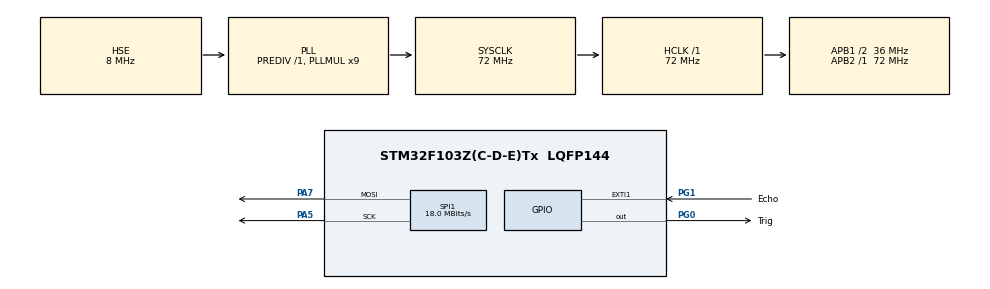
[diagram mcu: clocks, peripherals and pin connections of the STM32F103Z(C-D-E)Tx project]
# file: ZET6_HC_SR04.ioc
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FREERTOS.Tasks01=APP_Main,24,128,APPTask_Main,Default,NULL,Dynamic,NULL,NULL
Mcu.Family=STM32F1
Mcu.Name=STM32F103Z(C-D-E)Tx
Mcu.Package=LQFP144
NVIC.EXTI1_IRQn=true\:4\:0\:true\:false\:true\:false\:true\:true\:true
NVIC.PriorityGroup=NVIC_PRIORITYGROUP_4
NVIC.TIM6_IRQn=true\:15\:0\:false\:false\:true\:false\:false\:true\:true
NVIC.TimeBase=TIM6_IRQn
NVIC.TimeBaseIP=TIM6
OSC_IN.Mode=HSE-External-Oscillator
OSC_IN.Signal=RCC_OSC_IN
OSC_OUT.Mode=HSE-External-Oscillator
OSC_OUT.Signal=RCC_OSC_OUT
PA13.Mode=Trace_Asynchronous_SW
PA13.Signal=SYS_JTMS-SWDIO
PA14.Mode=Trace_Asynchronous_SW
PA14.Signal=SYS_JTCK-SWCLK
PA5.Mode=TX_Only_Simplex_Unidirect_Master
PA5.Signal=SPI1_SCK
PA7.Mode=TX_Only_Simplex_Unidirect_Master
PA7.Signal=SPI1_MOSI
PB3.Mode=Trace_Asynchronous_SW
PB3.Signal=SYS_JTDO-TRACESWO
PG0.GPIO_Label=Trig
PG0.GPIO_Speed=GPIO_SPEED_FREQ_HIGH
PG0.Signal=GPIO_Output
PG1.GPIO_Label=Echo
PG1.GPIO_ModeDefaultEXTI=GPIO_MODE_IT_RISING
PG1.Signal=GPXTI1
ProjectManager.HeapSize=0x200
ProjectManager.StackSize=0x400
ProjectManager.TargetToolchain=STM32CubeIDE
RCC.AHBFreq_Value=72000000
RCC.APB1CLKDivider=RCC_HCLK_DIV2
RCC.APB1Freq_Value=36000000
RCC.APB1TimFreq_Value=72000000
RCC.APB2Freq_Value=72000000
RCC.APB2TimFreq_Value=72000000
RCC.HCLKFreq_Value=72000000
RCC.PLLMUL=RCC_PLL_MUL9
RCC.PLLSourceVirtual=RCC_PLLSOURCE_HSE
RCC.SYSCLKFreq_VALUE=72000000
RCC.SYSCLKSource=RCC_SYSCLKSOURCE_PLLCLK
RCC.USBFreq_Value=72000000
SPI1.BaudRatePrescaler=SPI_BAUDRATEPRESCALER_4
SPI1.CalculateBaudRate=18.0 MBits/s
SPI1.Direction=SPI_DIRECTION_2LINES
SPI1.Mode=SPI_MODE_MASTER
SPI1.VirtualType=VM_MASTER
TIM7.Prescaler=7200-1
VP_FREERTOS_VS_CMSIS_V2.Mode=CMSIS_V2
VP_SYS_VS_tim6.Mode=TIM6
VP_TIM7_VS_ClockSourceINT.Mode=Enable_Timer
board=custom

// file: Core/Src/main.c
/* USER CODE BEGIN Header */
/**
  ******************************************************************************
  * @file           : main.c
  * @brief          : Main program body
  ******************************************************************************
  * @attention
  *
  * Copyright (c) 2023 STMicroelectronics.
  * All rights reserved.
  *
  * This software is licensed under terms that can be found in the LICENSE file
  * in the root directory of this software component.
  * If no LICENSE file comes with this software, it is provided AS-IS.
  *
  ******************************************************************************
  */
/* USER CODE END Header */
#include "main.h"
#include "cmsis_os.h"
#include "spi.h"
#include "tim.h"
#include "gpio.h"

void SystemClock_Config(void);
void MX_FREERTOS_Init(void);

int main(void)
{

  /* MCU Configuration--------------------------------------------------------*/

  /* Reset of all peripherals, Initializes the Flash interface and the Systick. */
  HAL_Init();

  /* Configure the system clock */
  SystemClock_Config();

  /* Initialize all configured peripherals */
  MX_GPIO_Init();
  MX_SPI1_Init();
  MX_TIM7_Init();

  /* Init scheduler */
  osKernelInitialize();  /* Call init function for freertos objects (in freertos.c) */
  MX_FREERTOS_Init();

  /* Start scheduler */
  osKernelStart();

  /* We should never get here as control is now taken by the scheduler */
  /* Infinite loop */
  while (1)
  {

  }
}

void SystemClock_Config(void)
{
  RCC_OscInitTypeDef RCC_OscInitStruct = {0};
  RCC_ClkInitTypeDef RCC_ClkInitStruct = {0};

  /** Initializes the RCC Oscillators according to the specified parameters
  * in the RCC_OscInitTypeDef structure.
  */
  RCC_OscInitStruct.OscillatorType = RCC_OSCILLATORTYPE_HSE;
  RCC_OscInitStruct.HSEState = RCC_HSE_ON;
  RCC_OscInitStruct.HSEPredivValue = RCC_HSE_PREDIV_DIV1;
  RCC_OscInitStruct.HSIState = RCC_HSI_ON;
  RCC_OscInitStruct.PLL.PLLState = RCC_PLL_ON;
  RCC_OscInitStruct.PLL.PLLSource = RCC_PLLSOURCE_HSE;
  RCC_OscInitStruct.PLL.PLLMUL = RCC_PLL_MUL9;
  if (HAL_RCC_OscConfig(&RCC_OscInitStruct) != HAL_OK)
  {
    Error_Handler();
  }

  /** Initializes the CPU, AHB and APB buses clocks
  */
  RCC_ClkInitStruct.ClockType = RCC_CLOCKTYPE_HCLK|RCC_CLOCKTYPE_SYSCLK
                              |RCC_CLOCKTYPE_PCLK1|RCC_CLOCKTYPE_PCLK2;
  RCC_ClkInitStruct.SYSCLKSource = RCC_SYSCLKSOURCE_PLLCLK;
  RCC_ClkInitStruct.AHBCLKDivider = RCC_SYSCLK_DIV1;
  RCC_ClkInitStruct.APB1CLKDivider = RCC_HCLK_DIV2;
  RCC_ClkInitStruct.APB2CLKDivider = RCC_HCLK_DIV1;

  if (HAL_RCC_ClockConfig(&RCC_ClkInitStruct, FLASH_LATENCY_2) != HAL_OK)
  {
    Error_Handler();
  }
}

/* USER CODE BEGIN 4 */
#define CPU_FREQUENCY_MHZ    72		// STM32时钟主频
void Delay_us(__IO uint32_t delay)
{
    int last, curr, val;
    int temp;

    while (delay != 0)
    {
        temp = delay > 900 ? 900 : delay;
        last = SysTick->VAL;
        curr = last - CPU_FREQUENCY_MHZ * temp;
        if (curr >= 0)
        {
            do
            {
                val = SysTick->VAL;
            }
            while ((val < last) && (val >= curr));
        }
        else
        {
            curr += CPU_FREQUENCY_MHZ * 1000;
            do
            {
                val = SysTick->VAL;
            }
            while ((val <= last) || (val > curr));
        }
        delay -= temp;
    }
}
/* USER CODE END 4 */

void HAL_TIM_PeriodElapsedCallback(TIM_HandleTypeDef *htim)
{
  if (htim->Instance == TIM6) {
    HAL_IncTick();
  }
}

void Error_Handler(void)
{
  __disable_irq();
  while (1)
  {
  }
}

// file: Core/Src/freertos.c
/* USER CODE BEGIN Header */
/**
  ******************************************************************************
  * File Name          : freertos.c
  * Description        : Code for freertos applications
  ******************************************************************************
  * @attention
  *
  * Copyright (c) 2023 STMicroelectronics.
  * All rights reserved.
  *
  * This software is licensed under terms that can be found in the LICENSE file
  * in the root directory of this software component.
  * If no LICENSE file comes with this software, it is provided AS-IS.
  *
  ******************************************************************************
  */
/* USER CODE END Header */

#include "FreeRTOS.h"
#include "task.h"
#include "main.h"
#include "cmsis_os.h"

/* USER CODE BEGIN Includes */
#include "lcd.h"
#include "tim.h"
/* USER CODE END Includes */

/* USER CODE BEGIN Variables */
/*APP_LCD Task*/
osThreadId_t APP_LCDhandle;
const osThreadAttr_t APP_LCD_attributs = {
        .name = "APP_LCD",
        .stack_size = 128*4,
        .priority = (osPriority_t)osPriorityNormal
};

/*APP_SR04 Task*/
osThreadId_t APP_SR04Handle;
const osThreadAttr_t APP_SR04_attributs = {
        .name = "APP_HC04",
        .stack_size = 128*4,

};

uint16_t deltaTim = 0;
uint16_t Distance_mm = 0.0;
uint8_t EXTIState = 0;
/* USER CODE END Variables */
/* Definitions for APP_Main */
osThreadId_t APP_MainHandle;
const osThreadAttr_t APP_Main_attributes = {
  .name = "APP_Main",
  .stack_size = 128 * 4,
  .priority = (osPriority_t) osPriorityNormal,
};

/* USER CODE BEGIN FunctionPrototypes */
void APP_LCDTask(void * param);
void APP_SR04Task(void * param);
/* USER CODE END FunctionPrototypes */

void APPTask_Main(void *argument);

void MX_FREERTOS_Init(void); /* (MISRA C 2004 rule 8.1) */

void MX_FREERTOS_Init(void) {

  /* Create the thread(s) */
  /* creation of APP_Main */
  APP_MainHandle = osThreadNew(APPTask_Main, NULL, &APP_Main_attributes);

  /* USER CODE BEGIN RTOS_THREADS */
  /* add threads, ... */
  APP_LCDhandle = osThreadNew(APP_LCDTask,NULL,&APP_LCD_attributs);
  APP_SR04Handle = osThreadNew(APP_SR04Task,NULL,&APP_SR04_attributs);
  /* USER CODE END RTOS_THREADS */

}

void APPTask_Main(void *argument)
{
  /* USER CODE BEGIN APPTask_Main */
    //nothing to do and suspend task
    vTaskSuspend(NULL);
  /* Infinite loop */
//  for(;;)
//  {
//    osDelay(1000);
//  }
  /* USER CODE END APPTask_Main */
}

/* USER CODE BEGIN Application */
/*FreeRTOS task: LCD task*/
void APP_LCDTask(void * param) {
    /*LCD Init*/
    LCD_Init(WHITE);
    TickType_t Tick = pdMS_TO_TICKS(1000);

    /*HC-SR04 test*/
    LCD_ShowString(35,0,"HC-SR04 Test",BLACK,WHITE,24,1);

    /*TIM Counter test*/
    LCD_ShowString(35,24,"Distance",BLACK,WHITE,24,1);
    LCD_ShowString(35 + 12*7,24*2,"mm",BLACK,WHITE,24,1);

    while (1) {
        LCD_ShowIntNum(35,24*2,Distance_mm,6,BLACK,WHITE,24);
        LCD_ShowIntNum(35,24*3,deltaTim,5,BLACK,WHITE,24);
        vTaskDelay(Tick);
    }
}

/*Set EXT1 rising*/
void EXTI1_Rising(void) {
    GPIO_InitTypeDef GPIO_InitStruct;

    __HAL_RCC_GPIOG_CLK_ENABLE();

    GPIO_InitStruct.Pin = Echo_Pin;
    GPIO_InitStruct.Mode = GPIO_MODE_IT_RISING; //Rising
    GPIO_InitStruct.Pull = GPIO_NOPULL;
    HAL_GPIO_Init(Echo_GPIO_Port,&GPIO_InitStruct);
}

/*Set EXT1 falling*/
void EXTI1_Falling(void) {
    GPIO_InitTypeDef GPIO_InitStruct;

    __HAL_RCC_GPIOG_CLK_ENABLE();

    GPIO_InitStruct.Pin = Echo_Pin;
    GPIO_InitStruct.Mode = GPIO_MODE_IT_FALLING; //Rising
    GPIO_InitStruct.Pull = GPIO_NOPULL;
    HAL_GPIO_Init(Echo_GPIO_Port,&GPIO_InitStruct);
}

/*FreeRTOS task: HC-SR04 task*/
void APP_SR04Task(void * param) {

    TickType_t tick = pdMS_TO_TICKS(100);
    HAL_TIM_Base_Start(&htim7);

    for(;;) {
        //Give Trig 10us high level
        HAL_GPIO_WritePin(Trig_GPIO_Port,Trig_Pin,GPIO_PIN_SET);
        taskENTER_CRITICAL();
        Delay_us(20);
        taskEXIT_CRITICAL();
        HAL_GPIO_WritePin(Trig_GPIO_Port,Trig_Pin,GPIO_PIN_RESET);

        //Set Rising
        EXTI1_Rising();

        taskENTER_CRITICAL();
        EXTIState = 0;
        taskEXIT_CRITICAL();

        vTaskDelay(tick);   //delay 100ms
        taskENTER_CRITICAL();
        Distance_mm = 17*deltaTim/100;
        taskEXIT_CRITICAL();
    }
}

/*EXTI1 call back function*/
void HAL_GPIO_EXTI_Callback(uint16_t GPIO_Pin)
{
    if(EXTIState == 0) {    //Rising into
        __HAL_TIM_SET_COUNTER(&htim7,0x0000);
        //Set exti falling
        EXTI1_Falling();

    } else if(EXTIState == 1) {
        deltaTim = __HAL_TIM_GET_COUNTER(&htim7);
    }

    EXTIState = 1;
}

/* USER CODE END Application */
